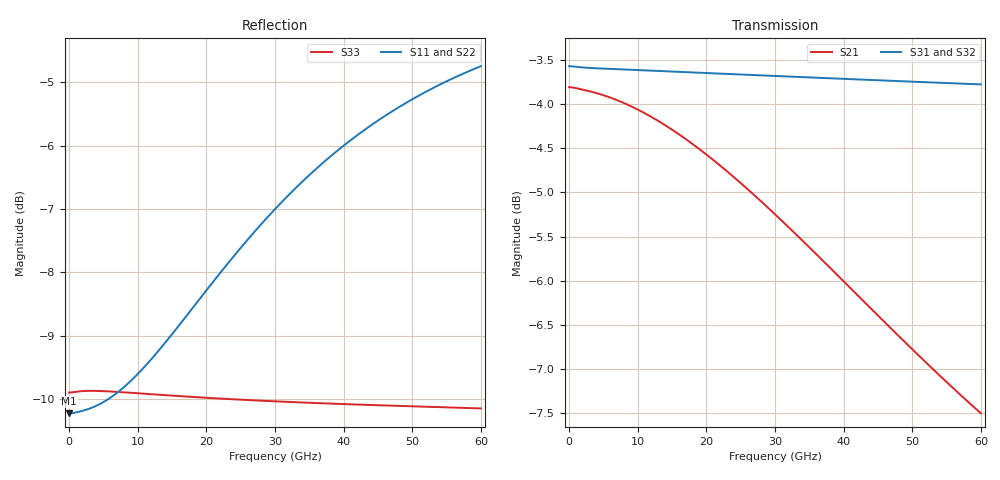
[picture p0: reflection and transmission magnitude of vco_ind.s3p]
#  GHZ S DB R 50
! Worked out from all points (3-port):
!   82 points, 10 MHz to 60 GHz, reference 50 ohm
!   strongest paths, dB at 10 MHz, 14.25 GHz, 30 GHz, 45 GHz, 60 GHz:
!     S31: -3.6, -3.6, -3.7, -3.7, -3.8
!     S32: -3.6, -3.7, -3.7, -3.8, -3.8
!     S21: -3.8, -4.3, -5.2, -6.4, -7.5
!   lowest |S11| = -10.2 dB at 10 MHz (marker M1), VSWR 1.89, Z = 26.4 + j0.0129 ohm
!   |S11| at or under -10 dB: start of sweep to 5.741 GHz
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0.01  -10.23 180.0  -3.81 -0.0  -3.57 -0.0
      -3.81 -0.0  -10.40 180.0  -3.65 -0.0
      -3.57 -0.0  -3.65 -0.0  -9.90 180.0
3.75  -10.12 164.4  -3.87 -7.6  -3.59 -1.3
      -3.87 -7.6  -10.29 164.2  -3.67 -1.2
      -3.59 -1.3  -3.67 -1.2  -9.87 177.7
7.5  -9.86 149.5  -3.97 -15.0  -3.61 -2.4
     -3.97 -15.0  -10.01 149.2  -3.68 -2.4
     -3.61 -2.4  -3.68 -2.4  -9.89 175.3
15.75  -8.87 121.2  -4.33 -30.6  -3.63 -4.9
       -4.33 -30.6  -8.99 120.6  -3.70 -4.8
       -3.63 -4.9  -3.70 -4.8  -9.95 170.4
23.25  -7.84 100.9  -4.78 -44.1  -3.66 -7.2
       -4.78 -44.1  -7.93 100.2  -3.72 -7.1
       -3.66 -7.2  -3.72 -7.1  -10.00 166.1
30.75  -6.92 84.5  -5.30 -56.9  -3.68 -9.4
       -5.30 -56.9  -6.98 83.7  -3.74 -9.3
       -3.68 -9.4  -3.74 -9.3  -10.04 162.0
36.75  -6.29 73.5  -5.76 -66.7  -3.70 -11.2
       -5.76 -66.7  -6.35 72.7  -3.75 -11.1
       -3.70 -11.2  -3.75 -11.1  -10.07 158.8
43.5  -5.72 62.9  -6.28 -77.3  -3.72 -13.2
      -6.28 -77.3  -5.77 62.1  -3.76 -13.2
      -3.72 -13.2  -3.76 -13.2  -10.09 155.2
51  -5.21 52.6  -6.85 -88.6  -3.75 -15.5
    -6.85 -88.6  -5.25 51.8  -3.78 -15.5
    -3.75 -15.5  -3.78 -15.5  -10.12 151.4
60  -4.74 42.0  -7.50 -101.6  -3.78 -18.3
    -7.50 -101.6  -4.79 41.0  -3.80 -18.4
    -3.78 -18.3  -3.80 -18.4  -10.15 146.9
